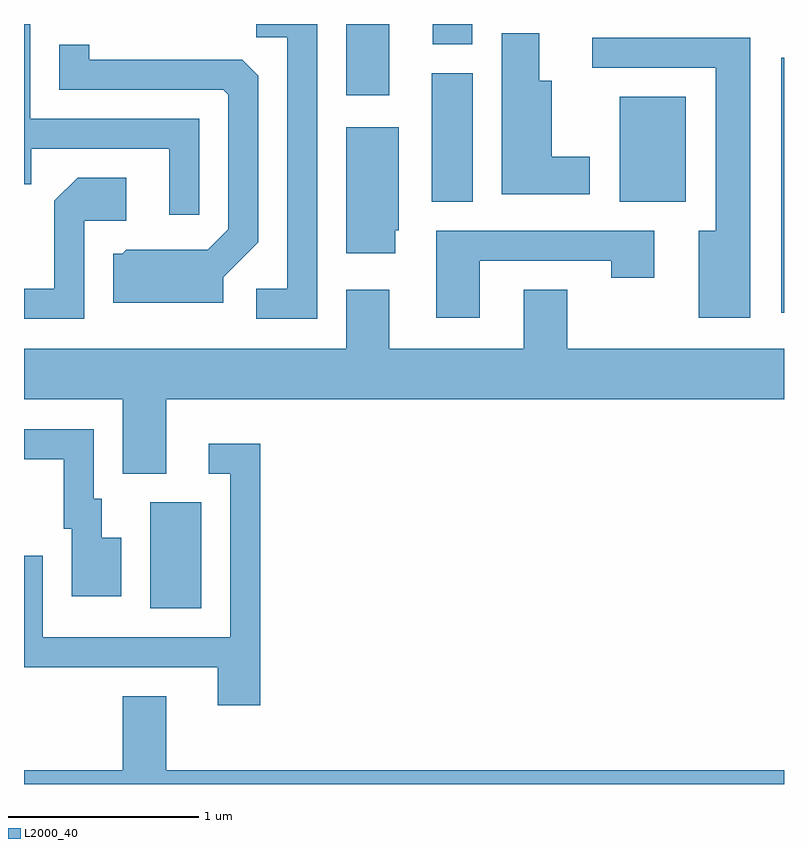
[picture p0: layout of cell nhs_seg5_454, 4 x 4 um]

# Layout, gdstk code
import gdstk
lib = gdstk.Library(unit=1e-6, precision=1e-09)
def R(c, l, rs):  # rectangles x0, y0, x1, y1
    for r in rs: c.add(gdstk.rectangle(r[:2], r[2:], *l))
def P(c, l, *ps):  # polygons
    for p in ps: c.add(gdstk.Polygon(p, *l))
L2000_40 = (2000, 40)

nhs_seg5_454 = lib.new_cell('nhs_seg5_454')
R(nhs_seg5_454, L2000_40, [(198.276,1488.996,198.544,1489.554), (201.596,1490.551,201.611,1491.894), (199.756,1491.136,199.974,1491.814), (200.746,1491.136,201.094,1491.689), (199.306,1491.696,199.534,1492.072), (199.761,1491.966,199.969,1492.072)])
P(nhs_seg5_454, L2000_40, [(198.534,1491.574),(197.644,1491.574),(197.644,1492.072),(197.611,1492.072),(197.611,1491.228),(197.649,1491.228),(197.649,1491.416),(198.376,1491.416),(198.376,1491.068),(198.534,1491.068)],
  [(199.154,1492.072),(198.833,1492.072),(198.833,1492.001),(198.996,1492.001),(198.996,1490.679),(198.833,1490.679),(198.833,1490.521),(199.154,1490.521)],
  [(200.589,1491.374),(200.389,1491.374),(200.389,1491.774),(200.324,1491.774),(200.324,1492.024),(200.126,1492.024),(200.126,1491.176),(200.589,1491.176)],
  [(201.434,1491.999),(200.603,1491.999),(200.603,1491.841),(201.251,1491.841),(201.251,1490.984),(201.161,1490.984),(201.161,1490.526),(201.434,1490.526)],
  [(198.659,1490.739),(198.844,1490.924),(198.844,1491.799),(198.759,1491.884),(197.954,1491.884),(197.954,1491.963),(197.796,1491.963),(197.796,1491.726),(198.659,1491.726),(198.686,1491.699),(198.686,1490.992),(198.579,1490.884),(198.149,1490.884),(198.129,1490.864),(198.081,1490.864),(198.081,1490.606),(198.659,1490.606)],
  [(199.564,1490.986),(199.584,1490.986),(199.584,1491.529),(199.306,1491.529),(199.306,1490.866),(199.564,1490.866)],
  [(197.929,1491.036),(198.149,1491.036),(198.149,1491.264),(197.894,1491.264),(197.771,1491.142),(197.771,1490.679),(197.611,1490.679),(197.611,1490.521),(197.929,1490.521)],
  [(200.009,1490.826),(200.701,1490.826),(200.701,1490.736),(200.929,1490.736),(200.929,1490.984),(199.781,1490.984),(199.781,1490.526),(200.009,1490.526)],
  [(198.359,1490.096),(201.611,1490.096),(201.611,1490.364),(200.469,1490.364),(200.469,1490.674),(200.241,1490.674),(200.241,1490.364),(199.534,1490.364),(199.534,1490.674),(199.306,1490.674),(199.306,1490.364),(197.611,1490.364),(197.611,1490.096),(198.131,1490.096),(198.131,1489.706),(198.359,1489.706)],
  [(198.124,1489.369),(198.019,1489.369),(198.019,1489.574),(197.979,1489.574),(197.979,1489.939),(197.611,1489.939),(197.611,1489.781),(197.821,1489.781),(197.821,1489.416),(197.861,1489.416),(197.861,1489.061),(198.124,1489.061)],
  [(198.854,1489.864),(198.583,1489.864),(198.583,1489.706),(198.696,1489.706),(198.696,1488.844),(197.709,1488.844),(197.709,1489.273),(197.611,1489.273),(197.611,1488.686),(198.631,1488.686),(198.631,1488.486),(198.854,1488.486)],
  [(201.611,1488.144),(198.359,1488.144),(198.359,1488.534),(198.131,1488.534),(198.131,1488.144),(197.611,1488.144),(197.611,1488.072),(201.611,1488.072)])

lib.write_gds('nhs_seg5_454.gds')
